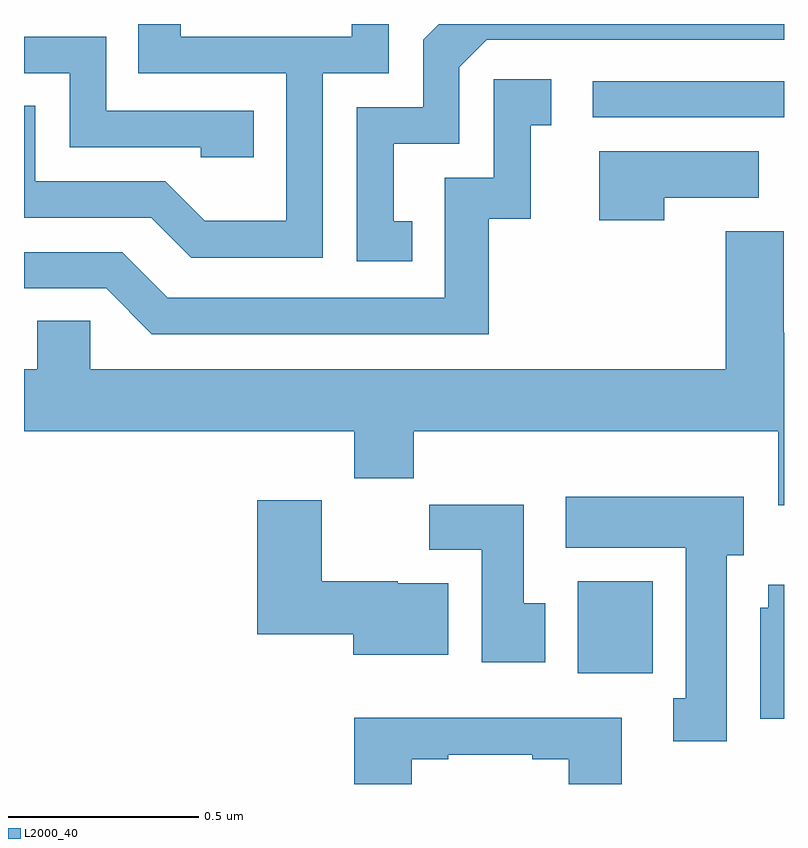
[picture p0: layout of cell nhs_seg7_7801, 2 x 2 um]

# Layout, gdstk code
import gdstk
lib = gdstk.Library(unit=1e-6, precision=1e-09)
def R(c, l, rs):  # rectangles x0, y0, x1, y1
    for r in rs: c.add(gdstk.rectangle(r[:2], r[2:], *l))
def P(c, l, *ps):  # polygons
    for p in ps: c.add(gdstk.Polygon(p, *l))
L2000_40 = (2000, 40)

nhs_seg7_7801 = lib.new_cell('nhs_seg7_7801')
R(nhs_seg7_7801, L2000_40, [(217.457,1021.292,217.654,1021.534), (217.497,1022.754,218,1022.85)])
P(nhs_seg7_7801, L2000_40, [(216.786,1022.871),(216.96,1022.871),(216.96,1023),(216.863,1023),(216.863,1022.967),(216.412,1022.967),(216.412,1023),(216.301,1023),(216.301,1022.871),(216.69,1022.871),(216.69,1022.482),(216.476,1022.482),(216.372,1022.586),(216.03,1022.586),(216.03,1022.785),(216,1022.785),(216,1022.49),(216.335,1022.49),(216.44,1022.385),(216.786,1022.385)],
  [(217.022,1022.481),(216.973,1022.481),(216.973,1022.685),(217.146,1022.685),(217.146,1022.886),(217.218,1022.958),(218,1022.958),(218,1023),(217.092,1023),(217.05,1022.958),(217.05,1022.781),(216.876,1022.781),(216.876,1022.376),(217.022,1022.376)],
  [(216.605,1022.772),(216.216,1022.772),(216.216,1022.967),(216,1022.967),(216,1022.871),(216.12,1022.871),(216.12,1022.676),(216.465,1022.676),(216.465,1022.649),(216.605,1022.649)],
  [(217.223,1022.487),(217.334,1022.487),(217.334,1022.733),(217.387,1022.733),(217.387,1022.854),(217.236,1022.854),(217.236,1022.595),(217.107,1022.595),(217.107,1022.28),(216.378,1022.28),(216.258,1022.4),(216,1022.4),(216,1022.304),(216.216,1022.304),(216.336,1022.184),(217.223,1022.184)],
  [(217.685,1022.543),(217.933,1022.543),(217.933,1022.665),(217.514,1022.665),(217.514,1022.484),(217.685,1022.484)],
  [(218,1022.188),(217.999,1022.188),(217.999,1022.455),(217.847,1022.455),(217.847,1022.092),(216.174,1022.092),(216.174,1022.219),(216.035,1022.219),(216.035,1022.092),(216,1022.092),(216,1021.928),(216.869,1021.928),(216.869,1021.804),(217.025,1021.804),(217.025,1021.928),(217.985,1021.928),(217.985,1021.734),(218,1021.734)],
  [(217.849,1021.602),(217.894,1021.602),(217.894,1021.756),(217.425,1021.756),(217.425,1021.622),(217.742,1021.622),(217.742,1021.226),(217.709,1021.226),(217.709,1021.113),(217.849,1021.113)],
  [(217.117,1021.528),(216.984,1021.528),(216.984,1021.534),(216.784,1021.534),(216.784,1021.747),(216.614,1021.747),(216.614,1021.394),(216.866,1021.394),(216.866,1021.34),(217.117,1021.34)],
  [(217.372,1021.476),(217.315,1021.476),(217.315,1021.735),(217.066,1021.735),(217.066,1021.616),(217.205,1021.616),(217.205,1021.32),(217.372,1021.32)],
  [(218,1021.525),(217.958,1021.525),(217.958,1021.464),(217.937,1021.464),(217.937,1021.172),(218,1021.172)],
  [(217.021,1021.065),(217.117,1021.065),(217.117,1021.077),(217.337,1021.077),(217.337,1021.065),(217.433,1021.065),(217.433,1021),(217.573,1021),(217.573,1021.174),(216.869,1021.174),(216.869,1021),(217.021,1021)])

lib.write_gds('nhs_seg7_7801.gds')
